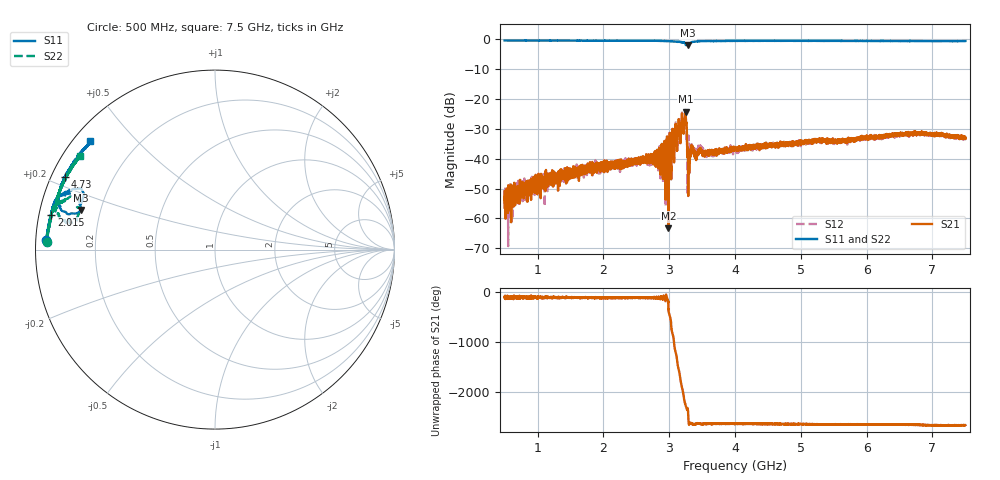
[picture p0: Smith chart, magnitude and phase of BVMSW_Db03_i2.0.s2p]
!Keysight Technologies,M9374A,MY55442783,A.12.55.05
!Date: Friday, May 21, 2021 10:48:02
!Correction: S11(Full 2 Port(1,2))
!S21(Full 2 Port(1,2))
!S12(Full 2 Port(1,2))
!S22(Full 2 Port(1,2))
!S2P File: Measurements: S11, S21, S12, S22:
# Hz S  RI  R 50
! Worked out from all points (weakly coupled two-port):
!   7001 points, 500 MHz to 7.5 GHz, reference 50 ohm
!   highest |S21| = -24.29 dB at 3.249 GHz (marker M1); lowest = -63.3 dB at 2.987 GHz (marker M2)
!   lowest |S11| = -2.2 dB at 3.286 GHz (marker M3), VSWR 8.09, Z = 6.31 + j7.13 ohm
!   |S11| at or under -10 dB: nowhere
!   |S22| runs from -2.2 to -0.5 dB; largest |S21 - S12| = 0.025
!   S11 on the Smith chart (normalised r, x): 500 MHz: 0.03, +0.03; 2.015 GHz: 0.04, +0.10; 4.73 GHz: 0.04, +0.23; 7.5 GHz: 0.05, +0.37
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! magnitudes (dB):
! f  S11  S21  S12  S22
! 500 MHz  -0.5  -50.9  -52.4  -0.5
! 572 MHz  -0.5  -51.9  -52.9  -0.6
! 1.667 GHz  -0.6  -43.3  -44.0  -0.6
! 2.015 GHz  -0.6  -41.2  -41.7  -0.6
! 2.834 GHz  -0.7  -42.4  -44.0  -0.7
! 2.948 GHz  -0.7  -50.2  -52.6  -0.7
! 2.967 GHz  -0.7  -33.1  -32.6  -0.8
! 2.987 GHz  -0.7  -63.3  -54.1  -0.8
! 3.01 GHz  -0.8  -31.4  -31.0  -0.8
! 3.03 GHz  -0.8  -46.9  -46.8  -0.8
! 3.053 GHz  -0.8  -30.0  -29.4  -0.9
! 3.075 GHz  -0.8  -41.3  -38.9  -0.9
! 3.218 GHz  -1.1  -31.3  -30.6  -1.1
! 3.249 GHz  -1.8  -24.3  -24.1  -1.9
! 3.286 GHz  -2.2  -42.2  -44.8  -2.1
! 3.309 GHz  -1.6  -41.3  -39.6  -1.6
! 3.363 GHz  -0.9  -36.9  -37.1  -1.0
! 4 GHz  -0.7  -36.6  -37.4  -0.7
! 4.73 GHz  -0.6  -35.1  -35.0  -0.7
! 5.167 GHz  -0.7  -33.9  -34.5  -0.7
! 6.334 GHz  -0.7  -32.2  -32.5  -0.7
! 7.5 GHz  -0.7  -33.3  -33.2  -0.8
